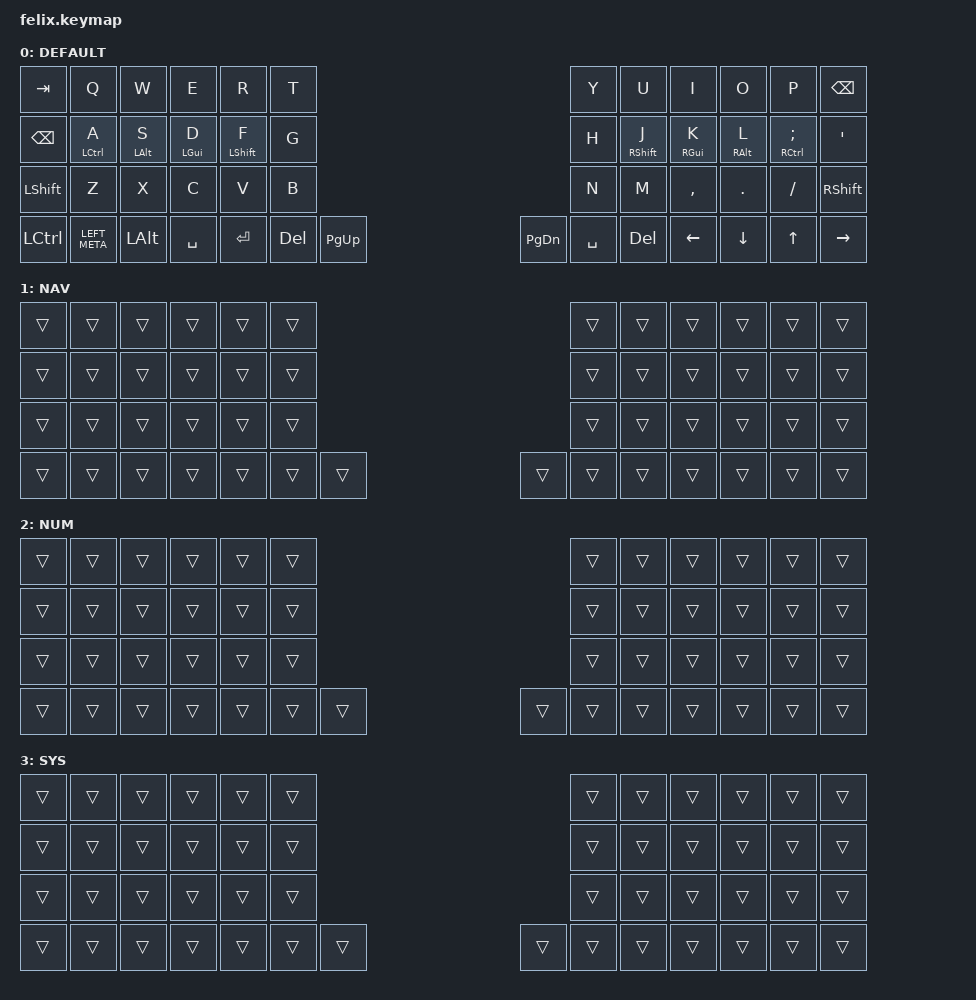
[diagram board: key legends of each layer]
/*
 * Copyright (c) 2020 The ZMK Contributors
 *
 * SPDX-License-Identifier: MIT
 */

#include <behaviors.dtsi>
#include <dt-bindings/zmk/keys.h>

#define DEFAULT 0
#define LOWER   1
#define RAISE   2
#define ADJUST  3

/ {
    behaviors {
        tpmt: tpmt {
            compatible = "zmk,behavior-hold-tap";
            label = "TPMT";
            bindings = <&kp>, <&kp>;

            #binding-cells = <2>;
            tapping-term-ms = <200>;
            quick-tap-ms = <125>;
            require-prior-idle-ms = <125>;
            flavor = "tap-preferred";
        };
    };

    keymap {
        compatible = "zmk,keymap";

        default_layer {
            // -----------------------------------------------------------------------------------------
            // |  TAB  |  Q  |  W  |  E  |  R  |  T  |   |  Y  |  U   |  I  |  O  |  P  | BKSP |
            // | BKSP  |  A  |  S  |  D  |  F  |  G  |   |  H  |  J   |  K  |  L  |  ;  |  '   |
            // | SHIFT |  Z  |  X  |  C  |  V  |  B  |   |  N  |  M   |  ,  |  .  |  /  | RSHFT|
            // | LCTRL | GUI | ALT | SPC | ENT | LOW | MO2 | MO1 | SPC | DEL | LFT | DWN | UP | RGT |

            bindings = <
&kp TAB        &kp Q          &kp W             &kp E             &kp R           &kp T                                         &kp Y      &kp U                &kp I         &kp O              &kp P                     &kp BACKSPACE
&kp BACKSPACE  &tpmt LCTRL A  &tpmt LEFT_ALT S  &tpmt LEFT_GUI D  &tpmt LSHIFT F  &kp G                                         &kp H      &tpmt RIGHT_SHIFT J  &tpmt RGUI K  &tpmt RIGHT_ALT L  &tpmt RIGHT_CONTROL SEMI  &kp SQT
&kp LSHFT      &kp Z          &kp X             &kp C             &kp V           &kp B                                         &kp N      &kp M                &kp COMMA     &kp PERIOD         &kp SLASH                 &kp RSHFT
&kp LCTRL      &kp LEFT_META  &kp LALT          &kp SPACE         &kp ENTER       &kp DELETE  &kp PAGE_UP        &kp PAGE_DOWN  &kp SPACE  &kp DEL              &kp LEFT      &kp DOWN           &kp UP                    &kp RIGHT
            >;

            label = "DEFAULT";
        };

        lower_layer {
            bindings = <
&trans  &trans  &trans  &trans  &trans  &trans                        &trans  &trans  &trans  &trans  &trans  &trans
&trans  &trans  &trans  &trans  &trans  &trans                        &trans  &trans  &trans  &trans  &trans  &trans
&trans  &trans  &trans  &trans  &trans  &trans                        &trans  &trans  &trans  &trans  &trans  &trans
&trans  &trans  &trans  &trans  &trans  &trans  &trans        &trans  &trans  &trans  &trans  &trans  &trans  &trans
            >;

            label = "NAV";
        };

        raise_layer {
            bindings = <
&trans  &trans  &trans  &trans  &trans  &trans                        &trans  &trans  &trans  &trans  &trans  &trans
&trans  &trans  &trans  &trans  &trans  &trans                        &trans  &trans  &trans  &trans  &trans  &trans
&trans  &trans  &trans  &trans  &trans  &trans                        &trans  &trans  &trans  &trans  &trans  &trans
&trans  &trans  &trans  &trans  &trans  &trans  &trans        &trans  &trans  &trans  &trans  &trans  &trans  &trans
            >;

            label = "NUM";
        };

        adjust_layer {
            bindings = <
&trans  &trans  &trans  &trans  &trans  &trans                        &trans  &trans  &trans  &trans  &trans  &trans
&trans  &trans  &trans  &trans  &trans  &trans                        &trans  &trans  &trans  &trans  &trans  &trans
&trans  &trans  &trans  &trans  &trans  &trans                        &trans  &trans  &trans  &trans  &trans  &trans
&trans  &trans  &trans  &trans  &trans  &trans  &trans        &trans  &trans  &trans  &trans  &trans  &trans  &trans
            >;

            label = "SYS";
        };

        extra1 { status = "reserved"; };

        extra2 { status = "reserved"; };

        extra3 { status = "reserved"; };

        extra4 { status = "reserved"; };
    };
};
